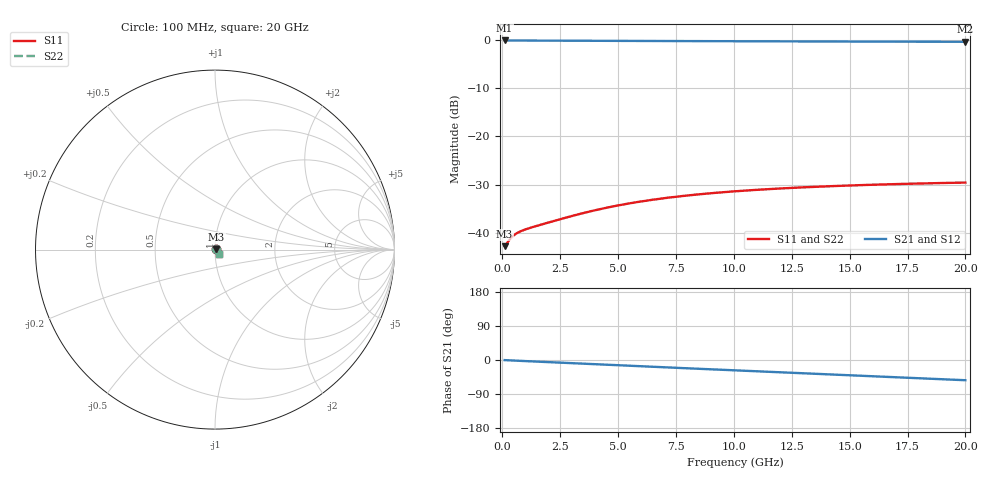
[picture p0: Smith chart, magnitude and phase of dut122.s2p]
! Touchstone file exported from HFSS 2026.1.0
!  File:  C:/ffzhzh/LocalFiles/Ansys_Project_Files/temp_train_BSMRDL_122_1782986059_45328.aedt
!  Generated:  05:55:56 PM Jul  2, 2026
!  Design:  BSMRDL
!  Project:  temp_train_BSMRDL_122_1782986059_45328
! Variables:
!  h_bsmrdl = 4.57um
!  h_ox = 20um
!  h_rdl = 5um
!  h_sub = 80um
!  h_tmrdl = 5um
!  h_tsv = 80um
!  h_via = 3um
!  l_bsmrdl = 984.83um
!  l_sub = 1384.83um
!  l_tmrdl = 200um
!  m_sub = 200um
!  pitch = 14.23um
!  r_tsv = 6um
!  s_tmrdl = 10um
!  w_bsmrdl = 10.66um
!  w_sub = 500um
!  w_tmrdl = 12um
!  x_tsv_center1 = 206um
!  x_tsv_center2 = 1201.49um
!  x_tsv_center3 = 1413.49um
!  x_tsv_center4 = 2408.98um
!  x_tsv_center5 = 2620.98um
!  x_tsv_center6 = 3616.47um
# GHz S MA R 50.000000
! Terminal data exported
! Port[1] = BSM_RDL1_1_T1
! Port[2] = BSM_RDL1_1_T2
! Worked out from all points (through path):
!   200 points, 100 MHz to 20 GHz, reference 50 ohm
!   highest |S21| = -0.06 dB at 100 MHz (marker M1); lowest = -0.3 dB at 20 GHz (marker M2)
!   group delay of S21, straight-line fit = 7.37 ps
!   lowest |S11| = -42.8 dB at 100 MHz (marker M3), VSWR 1.01, Z = 50.7 + j0.0934 ohm
!   |S11| at or under -10 dB: start of sweep to end of sweep
!   |S22| runs from -42.8 to -29.6 dB; largest |S21 - S12| = 2.2e-14
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0.1  0.007265 7.3  0.9928 -0.3  0.9928 -0.3  0.007265 7.3
! Gamma 0 0 0 0
! Port Impedance 50 0 50 0
0.3  0.008403 15.2  0.9919 -0.9  0.9919 -0.9  0.008403 15.2
0.4  0.008961 16.4  0.9915 -1.2  0.9915 -1.2  0.008961 16.4
0.5  0.009428 17.0  0.9911 -1.5  0.9911 -1.5  0.009427 17.0
0.6  0.009809 17.2  0.9907 -1.8  0.9907 -1.8  0.009807 17.2
0.8  0.01039 17.5  0.9902 -2.3  0.9902 -2.3  0.01039 17.5
1.1  0.01105 18.2  0.9897 -3.2  0.9897 -3.2  0.01105 18.2
1.6  0.01201 19.6  0.989 -4.5  0.989 -4.5  0.01201 19.6
2.7  0.01427 21.3  0.9874 -7.6  0.9874 -7.6  0.01427 21.3
3.5  0.01603 20.7  0.9861 -9.8  0.9861 -9.8  0.01603 20.7
4.3  0.01778 18.9  0.9846 -12.0  0.9846 -12.0  0.01778 18.9
5.1  0.01944 16.3  0.983 -14.1  0.983 -14.1  0.01943 16.3
5.9  0.02098 13.2  0.9814 -16.3  0.9814 -16.3  0.02098 13.2
6.8  0.02256 9.3  0.9797 -18.7  0.9797 -18.7  0.02255 9.3
8.3  0.02483 2.4  0.9769 -22.7  0.9769 -22.7  0.02481 2.4
10.1  0.02702 -6.0  0.9738 -27.5  0.9738 -27.5  0.027 -6.0
11.7  0.02859 -13.4  0.9714 -31.7  0.9714 -31.7  0.02855 -13.4
13.4  0.02995 -21.0  0.9691 -36.1  0.9691 -36.1  0.02989 -21.0
15  0.03099 -28.0  0.967 -40.3  0.967 -40.3  0.03092 -28.0
16.7  0.03191 -35.2  0.965 -44.8  0.965 -44.8  0.03182 -35.2
18.4  0.03266 -42.2  0.9631 -49.2  0.9631 -49.2  0.03254 -42.2
20  0.03322 -48.7  0.9615 -53.4  0.9615 -53.4  0.03308 -48.7
